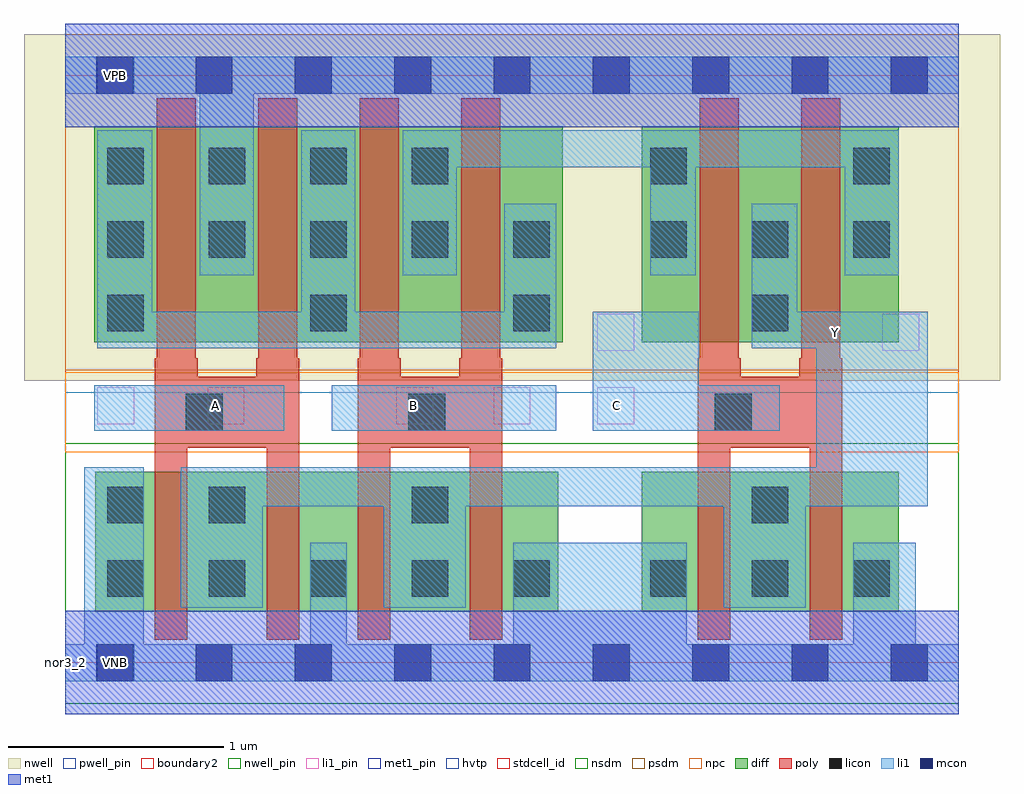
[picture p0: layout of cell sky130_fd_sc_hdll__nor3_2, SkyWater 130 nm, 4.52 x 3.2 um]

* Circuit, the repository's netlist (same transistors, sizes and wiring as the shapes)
* Copyright 2020 The SkyWater PDK Authors
*
* Licensed under the Apache License, Version 2.0 (the "License");
* you may not use this file except in compliance with the License.
* You may obtain a copy of the License at
*
*     https://www.apache.org/licenses/LICENSE-2.0
*
* Unless required by applicable law or agreed to in writing, software
* distributed under the License is distributed on an "AS IS" BASIS,
* WITHOUT WARRANTIES OR CONDITIONS OF ANY KIND, either express or implied.
* See the License for the specific language governing permissions and
* limitations under the License.
*
* SPDX-License-Identifier: Apache-2.0

.SUBCKT sky130_fd_sc_hdll__nor3_2 A B C VGND VNB VPB VPWR Y
*.PININFO A:I B:I C:I VGND:I VNB:I VPB:I VPWR:I Y:O
MMP0 VPWR A sndPA VPB sky130_fd_pr__pfet_01v8_hvt m=2 w=1.0U l=0.18U mult=1 sa=0.265
+ sb=0.265 sd=0.28 area=0.063 perim=1.14
MMP1 sndPA B sndPB VPB sky130_fd_pr__pfet_01v8_hvt m=2 w=1.0U l=0.18U mult=1 sa=0.265
+ sb=0.265 sd=0.28 area=0.063 perim=1.14
MMP2 sndPB C Y VPB sky130_fd_pr__pfet_01v8_hvt m=2 w=1.0U l=0.18U mult=1 sa=0.265
+ sb=0.265 sd=0.28 area=0.063 perim=1.14
MMN0 Y A VGND VNB sky130_fd_pr__nfet_01v8 m=2 w=0.65U l=0.15U mult=1 sa=0.265 sb=0.265
+ sd=0.28 area=0.063 perim=1.14
MMN1 Y B VGND VNB sky130_fd_pr__nfet_01v8 m=2 w=0.65U l=0.15U mult=1 sa=0.265 sb=0.265
+ sd=0.28 area=0.063 perim=1.14
MMN2 Y C VGND VNB sky130_fd_pr__nfet_01v8 m=2 w=0.65U l=0.15U mult=1 sa=0.265 sb=0.265
+ sd=0.28 area=0.063 perim=1.14
.ENDS sky130_fd_sc_hdll__nor3_2

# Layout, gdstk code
import gdstk
lib = gdstk.Library(unit=1e-6, precision=1e-09)
def R(c, l, rs):  # rectangles x0, y0, x1, y1
    for r in rs: c.add(gdstk.rectangle(r[:2], r[2:], *l))
def A(c, l, x, y, w, h, nx, ny, dx, dy):  # array of equal rectangles
    R(c, l, [(x+i*dx, y+j*dy, x+i*dx+w, y+j*dy+h) for i in range(nx) for j in range(ny)])
def P(c, l, *ps):  # polygons
    for p in ps: c.add(gdstk.Polygon(p, *l))
nwell_pin = (64, 16)
nwell = (64, 20)
diff = (65, 20)
poly = (66, 20)
licon = (66, 44)
li1_pin = (67, 16)
li1 = (67, 20)
mcon = (67, 44)
met1_pin = (68, 16)
met1 = (68, 20)
hvtp = (78, 44)
stdcell_id = (81, 4)
nsdm = (93, 44)
psdm = (94, 20)
npc = (95, 20)
pwell_pin = (122, 16)
boundary2 = (236, 0)

sky130_fd_sc_hdll__nor3_ = lib.new_cell('sky130_fd_sc_hdll__nor3_2')
R(sky130_fd_sc_hdll__nor3_, nwell_pin, [(0.15,2.635,0.32,2.805)])
R(sky130_fd_sc_hdll__nor3_, nwell, [(-0.19,1.305,4.33,2.91)])
R(sky130_fd_sc_hdll__nor3_, diff, [(0.14,0.235,2.285,0.885), (2.67,0.235,3.86,0.885), (0.135,1.485,2.305,2.485), (2.67,1.485,3.86,2.485)])
P(sky130_fd_sc_hdll__nor3_, poly, [(1.085,1.41),(1.075,1.41),(1.075,2.615),(0.895,2.615),(0.895,1.41),(0.885,1.41),(0.885,1.325),(0.615,1.325),(0.615,1.41),(0.605,1.41),(0.605,2.615),(0.425,2.615),(0.425,1.41),(0.415,1.41),(0.415,0.105),(0.565,0.105),(0.565,0.995),(0.935,0.995),(0.935,0.105),(1.085,0.105)],
  [(2.025,1.41),(2.015,1.41),(2.015,2.615),(1.835,2.615),(1.835,1.41),(1.825,1.41),(1.825,1.325),(1.555,1.325),(1.555,1.41),(1.545,1.41),(1.545,2.615),(1.365,2.615),(1.365,1.41),(1.355,1.41),(1.355,0.105),(1.505,0.105),(1.505,0.995),(1.875,0.995),(1.875,0.105),(2.025,0.105)],
  [(3.6,1.41),(3.59,1.41),(3.59,2.615),(3.41,2.615),(3.41,1.41),(3.4,1.41),(3.4,1.325),(3.13,1.325),(3.13,1.41),(3.12,1.41),(3.12,2.615),(2.94,2.615),(2.94,1.41),(2.93,1.41),(2.93,0.105),(3.08,0.105),(3.08,0.995),(3.45,0.995),(3.45,0.105),(3.6,0.105)])
A(sky130_fd_sc_hdll__nor3_, licon, 0.195, 0.305, 0.17, 0.17, 5, 2, 0.47, 1.57)
A(sky130_fd_sc_hdll__nor3_, licon, 2.71, 0.305, 0.17, 0.17, 3, 2, 0.47, 1.57)
A(sky130_fd_sc_hdll__nor3_, licon, 0.195, 1.535, 0.17, 0.17, 3, 1, 0.94, 0)
A(sky130_fd_sc_hdll__nor3_, licon, 0.195, 2.215, 0.17, 0.17, 4, 1, 0.47, 0)
R(sky130_fd_sc_hdll__nor3_, licon, [(0.195,0.645,0.365,0.815), (0.665,0.645,0.835,0.815), (1.605,0.645,1.775,0.815), (3.18,0.645,3.35,0.815), (0.56,1.075,0.73,1.245), (1.59,1.075,1.76,1.245), (3.01,1.075,3.18,1.245), (3.18,1.535,3.35,1.705), (2.71,2.215,2.88,2.385), (3.65,2.215,3.82,2.385)])
R(sky130_fd_sc_hdll__nor3_, li1_pin, [(0.15,1.105,0.32,1.275), (0.66,1.105,0.83,1.275), (1.535,1.105,1.705,1.275), (1.985,1.105,2.155,1.275), (2.465,1.105,2.635,1.275), (2.465,1.445,2.635,1.615), (3.785,1.445,3.955,1.615)])
R(sky130_fd_sc_hdll__nor3_, li1, [(0.135,1.075,1.015,1.285), (1.235,1.075,2.275,1.285)])
P(sky130_fd_sc_hdll__nor3_, li1, [(4.14,0.085),(3.94,0.085),(3.94,0.555),(3.65,0.555),(3.65,0.085),(2.88,0.085),(2.88,0.555),(2.075,0.555),(2.075,0.085),(1.305,0.085),(1.305,0.555),(1.135,0.555),(1.135,0.085),(0.365,0.085),(0.365,0.905),(0.09,0.905),(0.09,0.085),(0,0.085),(0,-0.085),(4.14,-0.085)],
  [(4.14,2.805),(0,2.805),(0,2.635),(0.625,2.635),(0.625,1.795),(0.875,1.795),(0.875,2.635),(4.14,2.635)],
  [(2.275,2.125),(2.035,2.125),(2.035,1.625),(1.345,1.625),(1.345,2.465),(1.095,2.465),(1.095,1.625),(0.405,1.625),(0.405,2.465),(0.15,2.465),(0.15,1.455),(2.275,1.455)],
  [(3.31,1.285),(2.935,1.285),(2.935,1.625),(2.445,1.625),(2.445,1.075),(3.31,1.075)],
  [(3.86,2.465),(1.565,2.465),(1.565,1.795),(1.815,1.795),(1.815,2.295),(2.71,2.295),(2.71,1.795),(2.92,1.795),(2.92,2.295),(3.61,2.295),(3.61,1.795),(3.86,1.795)],
  [(3.995,1.625),(3.39,1.625),(3.39,2.125),(3.18,2.125),(3.18,1.455),(3.48,1.455),(3.48,0.905),(0.535,0.905),(0.535,0.255),(0.915,0.255),(0.915,0.725),(1.475,0.725),(1.475,0.255),(1.855,0.255),(1.855,0.725),(3.05,0.725),(3.05,0.255),(3.43,0.255),(3.43,0.725),(3.995,0.725)])
A(sky130_fd_sc_hdll__nor3_, mcon, 0.145, -0.085, 0.17, 0.17, 9, 2, 0.46, 2.72)
R(sky130_fd_sc_hdll__nor3_, met1_pin, [(0.15,-0.085,0.32,0.085), (0.15,2.635,0.32,2.805)])
R(sky130_fd_sc_hdll__nor3_, met1, [(0,-0.24,4.14,0.24), (0,2.48,4.14,2.96)])
R(sky130_fd_sc_hdll__nor3_, hvtp, [(0,1.25,4.14,2.72)])
R(sky130_fd_sc_hdll__nor3_, stdcell_id, [(0,0,4.14,2.72)])
R(sky130_fd_sc_hdll__nor3_, nsdm, [(0,-0.19,4.14,1.015)])
R(sky130_fd_sc_hdll__nor3_, psdm, [(0,1.355,4.14,2.91)])
R(sky130_fd_sc_hdll__nor3_, npc, [(0,0.975,4.14,1.345)])
R(sky130_fd_sc_hdll__nor3_, pwell_pin, [(0.15,-0.085,0.32,0.085)])
R(sky130_fd_sc_hdll__nor3_, boundary2, [(0,0,4.14,2.72)])
sky130_fd_sc_hdll__nor3_.add(gdstk.Label('C', (2.555,1.19), layer=67, texttype=5))
sky130_fd_sc_hdll__nor3_.add(gdstk.Label('Y', (3.57,1.53), layer=67, texttype=5))
sky130_fd_sc_hdll__nor3_.add(gdstk.Label('A', (0.695,1.19), layer=67, texttype=5))
sky130_fd_sc_hdll__nor3_.add(gdstk.Label('B', (1.615,1.19), layer=67, texttype=5))
sky130_fd_sc_hdll__nor3_.add(gdstk.Label('VPB', (0.235,2.72), layer=64, texttype=5))
sky130_fd_sc_hdll__nor3_.add(gdstk.Label('VNB', (0.235,0), layer=64, texttype=59))
sky130_fd_sc_hdll__nor3_.add(gdstk.Label('VGND', (0.23,0), layer=68, texttype=5))
sky130_fd_sc_hdll__nor3_.add(gdstk.Label('VPWR', (0.235,2.72), layer=68, texttype=5))
sky130_fd_sc_hdll__nor3_.add(gdstk.Label('nor3_2', (0,0), layer=83, texttype=44))

lib.write_gds('sky130_fd_sc_hdll__nor3_2.gds')
